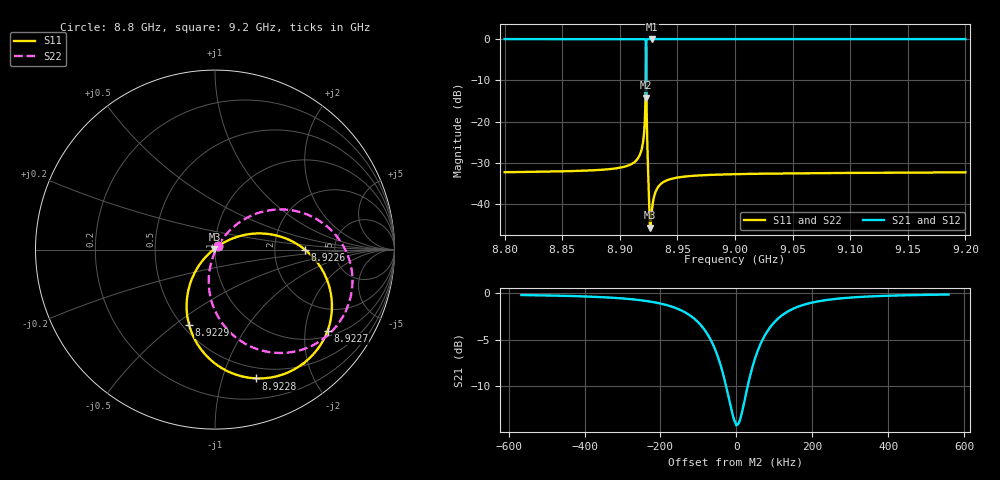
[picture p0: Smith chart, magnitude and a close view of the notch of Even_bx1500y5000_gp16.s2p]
! Sonnet Data File
! From: emgraph Version : 16.52
! From Project: Resonator2
! Data is De-embedded
! Data File Written: 10/04/2017 18:31:03
!< HDATE 10/04/2017 15:54:54
!< MDATE 10/04/2017 15:55:28
!< PARAMS
!< gap = 16.0
!< Length = 400.0
!< END PARAMS
# GHZ S MA R 50.00000
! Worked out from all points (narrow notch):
!   2194 points, 8.8 GHz to 9.2 GHz, reference 50 ohm
!   highest |S21| = 0.00 dB at 8.928 GHz (marker M1); lowest = -14.2 dB at 8.9228 GHz (marker M2)
!   notch at M2: 14.2 dB deep, 94.7 kHz wide at half that depth
!   lowest |S11| = -45.7 dB at 8.9265 GHz (marker M3), VSWR 1.01, Z = 49.7 + j0.412 ohm
!   |S11| at or under -10 dB: start of sweep to 8.9225 GHz; 8.923 GHz to end of sweep
!   |S22| runs from -45.3 to -1.9 dB; largest |S21 - S12| = 0
!   S11 on the Smith chart (normalised r, x): 8.8 GHz: 1.03, +0.04; 8.9226 GHz: 3.01, -0.00; 8.9227 GHz: 1.16, -2.63; 8.9228 GHz: 0.39, -1.29; 8.9229 GHz: 0.54, -0.57; 9.2 GHz: 1.03, +0.04
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8.8  0.02431 49.0  0.9997 -40.4  0.9997 -40.4  0.02431 50.3
!< P1 F=8.8 Eeff=(6.44890994 -2.9739e-5) Z0=(51.8068348 1.19496e-4) R=0.0 C=0.0
!< P2 F=8.8 Eeff=(6.44890994 -2.9739e-5) Z0=(51.8068348 1.19496e-4) R=0.0 C=0.0
8.86675  0.02526 48.2  0.9997 -40.7  0.9997 -40.7  0.02527 50.4
8.916217  0.03667 43.6  0.9993 -41.6  0.9993 -41.6  0.03668 53.1
8.920997  0.07115 37.1  0.9969 -43.6  0.9969 -43.6  0.07123 54.8
8.921989  0.1297 31.0  0.9888 -47.0  0.9888 -47.0  0.1299 52.6
8.92244  0.2603 20.2  0.9512 -54.6  0.9512 -54.6  0.2609 44.2
8.922642  0.5017 -0.1  0.7968 -69.3  0.7968 -69.3  0.5029 25.1
8.922749  0.774 -35.9  0.3395 -80.2  0.3395 -80.2  0.7759 -10.0
8.92278  0.8049 -52.0  0.1943 -42.0  0.1943 -42.0  0.807 -25.9
8.92282  0.7531 -72.3  0.3843 1.6  0.3843 1.6  0.7551 -45.9
8.92287  0.6082 -93.0  0.6626 -3.2  0.6626 -3.2  0.6098 -66.2
8.922934  0.4447 -108.9  0.8345 -13.4  0.8345 -13.4  0.446 -81.6
8.92326  0.1519 -133.0  0.9808 -30.8  0.9808 -30.8  0.1525 -102.9
8.924011  0.04617 -145.1  0.9978 -36.9  0.9978 -36.9  0.04644 -105.9
8.925753  0.007439 174.5  0.9998 -39.2  0.9998 -39.2  0.007714 -70.8
8.926455  0.005163 126.6  0.9999 -39.6  0.9999 -39.6  0.005421 -25.8
8.928  0.008701 73.9  0.9999 -40.0  0.9999 -40.0  0.008778 25.5
8.9335  0.01625 55.4  0.9999 -40.5  0.9999 -40.5  0.01625 43.6
9  0.02299 49.2  0.9997 -41.2  0.9997 -41.2  0.02299 48.5
9.06675  0.02364 48.5  0.9997 -41.5  0.9997 -41.5  0.02364 48.5
9.1335  0.02396 48.1  0.9997 -41.8  0.9997 -41.8  0.02396 48.3
9.2  0.0242 47.7  0.9997 -42.1  0.9997 -42.1  0.0242 48.0
